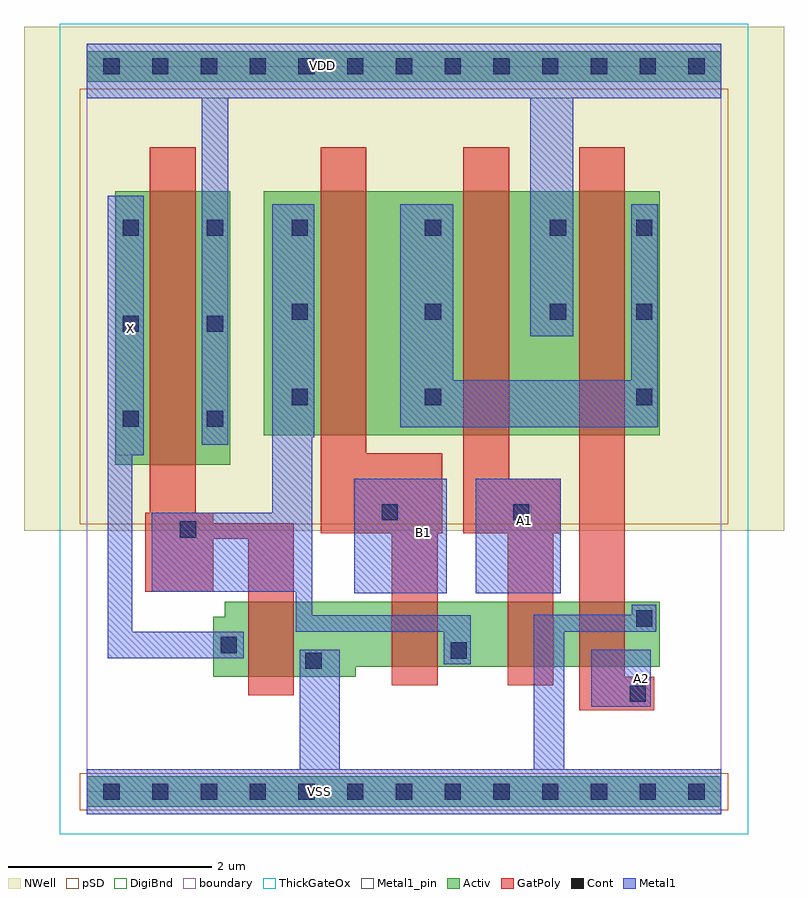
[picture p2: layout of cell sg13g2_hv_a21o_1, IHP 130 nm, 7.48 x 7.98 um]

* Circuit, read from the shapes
.subckt sg13g2_hv_a21o_1 A1 A2 B1 VDD VSS X
XM1 VSS n1 X VSS sg13_hv_nmos w=0.74u l=0.45u
XM2 n1 B1 VSS VSS sg13_hv_nmos w=0.64u l=0.45u
XM3 n2 A1 n1 VSS sg13_hv_nmos w=0.64u l=0.45u
XM4 VSS A2 n2 VSS sg13_hv_nmos w=0.64u l=0.45u
XM5 VDD n1 X VDD sg13_hv_pmos w=2.69u l=0.45u
XM6 n3 B1 n1 VDD sg13_hv_pmos w=2.4u l=0.45u
XM7 VDD A1 n3 VDD sg13_hv_pmos w=2.4u l=0.45u
XM8 n3 A2 VDD VDD sg13_hv_pmos w=2.4u l=0.45u
.ends

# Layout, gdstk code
import gdstk
lib = gdstk.Library(unit=1e-6, precision=1e-09)
def R(c, l, rs):  # rectangles x0, y0, x1, y1
    for r in rs: c.add(gdstk.rectangle(r[:2], r[2:], *l))
def A(c, l, x, y, w, h, nx, ny, dx, dy):  # array of equal rectangles
    R(c, l, [(x+i*dx, y+j*dy, x+i*dx+w, y+j*dy+h) for i in range(nx) for j in range(ny)])
def P(c, l, *ps):  # polygons
    for p in ps: c.add(gdstk.Polygon(p, *l))
Activ = (1, 0)
GatPoly = (5, 0)
Cont = (6, 0)
Metal1 = (8, 0)
Metal1_pin = (8, 2)
pSD = (14, 0)
DigiBnd = (16, 0)
NWell = (31, 0)
ThickGateOx = (44, 0)
boundary = (189, 4)

sg13g2_hv_a21o_1 = lib.new_cell('sg13g2_hv_a21o_1')
R(sg13g2_hv_a21o_1, Activ, [(0,-0.15,6.24,0.15), (0.28,3.22,1.41,5.91), (1.74,3.51,5.635,5.91), (0,6.99,6.24,7.29)])
P(sg13g2_hv_a21o_1, Activ, [(1.245,1.13),(1.245,1.72),(1.355,1.72),(1.355,1.87),(5.635,1.87),(5.635,1.23),(2.645,1.23),(2.645,1.13)])
P(sg13g2_hv_a21o_1, GatPoly, [(1.585,0.95),(1.585,2.49),(1.245,2.49),(1.245,1.97),(0.575,1.97),(0.575,2.745),(0.62,2.745),(0.62,6.345),(1.07,6.345),(1.07,2.745),(1.245,2.745),(1.245,2.64),(2.035,2.64),(2.035,0.95)],
  [(3,1.05),(3,2.545),(2.3,2.545),(2.3,6.345),(2.75,6.345),(2.75,3.33),(3.495,3.33),(3.495,2.545),(3.45,2.545),(3.45,1.05)],
  [(4.14,1.05),(4.14,2.545),(3.705,2.545),(3.705,6.345),(4.155,6.345),(4.155,3.08),(4.665,3.08),(4.665,2.545),(4.59,2.545),(4.59,1.05)],
  [(4.845,0.8),(4.845,6.345),(5.295,6.345),(5.295,1.13),(5.585,1.13),(5.585,0.8)])
A(sg13g2_hv_a21o_1, Cont, 0.16, -0.08, 0.16, 0.16, 13, 2, 0.48, 7.14)
R(sg13g2_hv_a21o_1, Cont, [(5.34,0.885,5.5,1.045), (2.15,1.21,2.31,1.37), (3.58,1.31,3.74,1.47), (1.315,1.365,1.475,1.525), (5.405,1.625,5.565,1.785), (0.915,2.5,1.075,2.66), (2.9,2.67,3.06,2.83), (4.195,2.67,4.355,2.83), (0.35,3.59,0.51,3.75), (1.18,3.59,1.34,3.75), (2.015,3.805,2.175,3.965), (3.325,3.805,3.485,3.965), (5.405,3.805,5.565,3.965), (0.35,4.525,0.51,4.685), (1.18,4.525,1.34,4.685), (2.015,4.645,2.175,4.805), (3.325,4.645,3.485,4.805), (4.555,4.645,4.715,4.805), (5.405,4.645,5.565,4.805), (0.35,5.47,0.51,5.63), (1.18,5.47,1.34,5.63), (2.015,5.47,2.175,5.63), (3.325,5.47,3.485,5.63), (4.555,5.47,4.715,5.63), (5.405,5.47,5.565,5.63)])
R(sg13g2_hv_a21o_1, Metal1, [(4.965,0.835,5.55,1.395), (2.63,1.955,3.54,3.08), (3.825,1.955,4.665,3.08)])
P(sg13g2_hv_a21o_1, Metal1, [(0.205,1.315),(0.205,5.865),(0.56,5.865),(0.56,3.31),(0.445,3.31),(0.445,1.575),(1.545,1.575),(1.545,1.315)],
  [(3.51,1.255),(3.51,1.575),(2.055,1.575),(2.055,1.97),(0.635,1.97),(0.635,2.745),(1.825,2.745),(1.825,5.78),(2.235,5.78),(2.235,3.49),(2.215,3.49),(2.215,1.735),(3.775,1.735),(3.775,1.255)],
  [(3.085,3.585),(3.085,5.78),(3.605,5.78),(3.605,4.05),(5.355,4.05),(5.355,5.78),(5.615,5.78),(5.615,3.585)],
  [(1.13,3.415),(1.13,6.825),(0,6.825),(0,7.36),(6.24,7.36),(6.24,6.825),(4.785,6.825),(4.785,4.485),(4.365,4.485),(4.365,6.825),(1.39,6.825),(1.39,3.415)],
  [(0,-0.22),(0,0.22),(2.095,0.22),(2.095,1.395),(2.49,1.395),(2.49,0.22),(4.395,0.22),(4.395,1.74),(5.36,1.74),(5.36,1.84),(5.605,1.84),(5.605,1.575),(4.695,1.575),(4.695,0.22),(6.24,0.22),(6.24,-0.22)])
R(sg13g2_hv_a21o_1, Metal1_pin, [(0,-0.22,6.24,0.22), (4.965,0.835,5.55,1.395), (2.63,1.955,3.54,3.08), (3.825,1.955,4.665,3.08), (0.285,3.31,0.56,5.865), (0,6.825,6.24,7.36)])
R(sg13g2_hv_a21o_1, pSD, [(-0.07,-0.18,6.31,0.18), (-0.07,2.635,6.31,6.92)])
R(sg13g2_hv_a21o_1, DigiBnd, [(0,0,6.24,7.14)])
R(sg13g2_hv_a21o_1, NWell, [(-0.62,2.57,6.86,7.53)])
R(sg13g2_hv_a21o_1, ThickGateOx, [(-0.27,-0.42,6.51,7.56)])
R(sg13g2_hv_a21o_1, boundary, [(0,0,6.24,7.14)])
sg13g2_hv_a21o_1.add(gdstk.Label('B1', (3.31,2.555), layer=8, texttype=25))
sg13g2_hv_a21o_1.add(gdstk.Label('X', (0.43,4.555), layer=8, texttype=25))
sg13g2_hv_a21o_1.add(gdstk.Label('VDD', (2.315,7.145), layer=8, texttype=25))
sg13g2_hv_a21o_1.add(gdstk.Label('VSS', (2.285,0), layer=8, texttype=25))
sg13g2_hv_a21o_1.add(gdstk.Label('A1', (4.31,2.67), layer=8, texttype=25))
sg13g2_hv_a21o_1.add(gdstk.Label('A2', (5.455,1.11), layer=8, texttype=25))

lib.write_gds('sg13g2_hv_a21o_1.gds')
